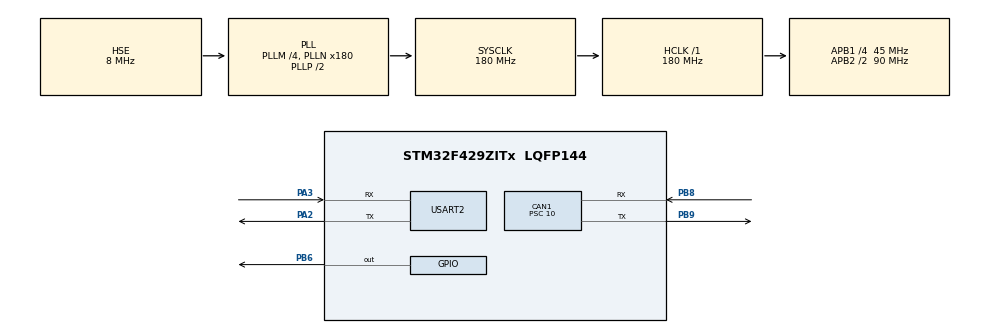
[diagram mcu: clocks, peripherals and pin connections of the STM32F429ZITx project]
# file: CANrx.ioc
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CAN1.BS1=CAN_BS1_15TQ
CAN1.BS2=CAN_BS2_2TQ
CAN1.CalculateBaudRate=250000
CAN1.CalculateTimeBit=4000
CAN1.CalculateTimeQuantum=222.22222222222223
CAN1.Prescaler=10
Mcu.Family=STM32F4
Mcu.Name=STM32F429ZITx
Mcu.Package=LQFP144
NVIC.CAN1_RX0_IRQn=true\:0\:0\:false\:false\:true\:true\:true\:true
NVIC.PriorityGroup=NVIC_PRIORITYGROUP_4
PA2.Mode=Asynchronous
PA2.Signal=USART2_TX
PA3.Mode=Asynchronous
PA3.Signal=USART2_RX
PB6.Signal=GPIO_Output
PB8.Mode=CAN_Activate
PB8.Signal=CAN1_RX
PB9.Mode=CAN_Activate
PB9.Signal=CAN1_TX
PH0/OSC_IN.Mode=HSE-External-Oscillator
PH0/OSC_IN.Signal=RCC_OSC_IN
PH1/OSC_OUT.Mode=HSE-External-Oscillator
PH1/OSC_OUT.Signal=RCC_OSC_OUT
ProjectManager.HeapSize=0x200
ProjectManager.StackSize=0x400
ProjectManager.TargetToolchain=STM32CubeIDE
RCC.48MHZClocksFreq_Value=120000000
RCC.AHBFreq_Value=180000000
RCC.APB1CLKDivider=RCC_HCLK_DIV4
RCC.APB1Freq_Value=45000000
RCC.APB1TimFreq_Value=90000000
RCC.APB2CLKDivider=RCC_HCLK_DIV2
RCC.APB2Freq_Value=90000000
RCC.APB2TimFreq_Value=180000000
RCC.CortexFreq_Value=180000000
RCC.HCLKFreq_Value=180000000
RCC.HSE_VALUE=8000000
RCC.HSI_VALUE=16000000
RCC.LSE_VALUE=32768
RCC.PLLM=4
RCC.PLLN=180
RCC.PLLQ=3
RCC.PLLSAIN=50
RCC.PLLSourceVirtual=RCC_PLLSOURCE_HSE
RCC.SYSCLKFreq_VALUE=180000000
RCC.SYSCLKSource=RCC_SYSCLKSOURCE_PLLCLK
RCC.VCOOutputFreq_Value=360000000
USART2.VirtualMode=VM_ASYNC
board=STM32F429I-DISC1

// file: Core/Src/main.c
/* USER CODE BEGIN Header */
/**
  ******************************************************************************
  * @file           : main.c
  * @brief          : Main program body
  ******************************************************************************
  * @attention
  *
  * Copyright (c) 2023 STMicroelectronics.
  * All rights reserved.
  *
  * This software is licensed under terms that can be found in the LICENSE file
  * in the root directory of this software component.
  * If no LICENSE file comes with this software, it is provided AS-IS.
  *
  ******************************************************************************
  */
/* USER CODE END Header */
#include "main.h"

/* USER CODE BEGIN Includes */
#include "stdio.h"
#include "string.h"

/* USER CODE END Includes */

CAN_HandleTypeDef hcan1;

UART_HandleTypeDef huart2;

/* USER CODE BEGIN PV */
CAN_RxHeaderTypeDef RxHeader;
CAN_FilterTypeDef fcan1;
char str[32];
volatile uint8_t RxData[4];
volatile float RX_msg= 0;
int size_len;
volatile uint8_t count=0;
/* USER CODE END PV */

void SystemClock_Config(void);
static void MX_GPIO_Init(void);
static void MX_CAN1_Init(void);
static void MX_USART2_UART_Init(void);
/* USER CODE BEGIN PFP */
void HAL_CAN_RxFifo0MsgPendingCallback(CAN_HandleTypeDef *hcan)
{
	HAL_CAN_GetRxMessage(&hcan1, CAN_RX_FIFO0, &RxHeader, RxData);
	memcpy(&RX_msg, RxData, 4);
	count++;
}
/* USER CODE END PFP */

int main(void)
{

  /* MCU Configuration--------------------------------------------------------*/

  /* Reset of all peripherals, Initializes the Flash interface and the Systick. */
  HAL_Init();

  /* Configure the system clock */
  SystemClock_Config();

  /* Initialize all configured peripherals */
  MX_GPIO_Init();
  MX_CAN1_Init();
  MX_USART2_UART_Init();
  /* USER CODE BEGIN 2 */
  fcan1.FilterBank=0;
  fcan1.FilterActivation=CAN_FILTER_ENABLE;
  fcan1.FilterFIFOAssignment=CAN_FILTER_FIFO0;
  fcan1.SlaveStartFilterBank=0;

  HAL_CAN_ConfigFilter(&hcan1, &fcan1);
  HAL_CAN_ActivateNotification(&hcan1, CAN_IT_RX_FIFO0_MSG_PENDING);
  HAL_CAN_Start(&hcan1);

  /* USER CODE END 2 */

  /* Infinite loop */
  /* USER CODE BEGIN WHILE */
  while (1)
  {
	  size_len = sprintf(str, "State of Charge : %f\n", RX_msg);
	  HAL_UART_Transmit(&huart2, (uint8_t *)str, size_len, HAL_MAX_DELAY);
	  HAL_Delay(100);
    /* USER CODE END WHILE */

  }
}

void SystemClock_Config(void)
{
  RCC_OscInitTypeDef RCC_OscInitStruct = {0};
  RCC_ClkInitTypeDef RCC_ClkInitStruct = {0};

  /** Configure the main internal regulator output voltage
  */
  __HAL_RCC_PWR_CLK_ENABLE();
  __HAL_PWR_VOLTAGESCALING_CONFIG(PWR_REGULATOR_VOLTAGE_SCALE1);

  /** Initializes the RCC Oscillators according to the specified parameters
  * in the RCC_OscInitTypeDef structure.
  */
  RCC_OscInitStruct.OscillatorType = RCC_OSCILLATORTYPE_HSE;
  RCC_OscInitStruct.HSEState = RCC_HSE_ON;
  RCC_OscInitStruct.PLL.PLLState = RCC_PLL_ON;
  RCC_OscInitStruct.PLL.PLLSource = RCC_PLLSOURCE_HSE;
  RCC_OscInitStruct.PLL.PLLM = 4;
  RCC_OscInitStruct.PLL.PLLN = 180;
  RCC_OscInitStruct.PLL.PLLP = RCC_PLLP_DIV2;
  RCC_OscInitStruct.PLL.PLLQ = 3;
  if (HAL_RCC_OscConfig(&RCC_OscInitStruct) != HAL_OK)
  {
    Error_Handler();
  }

  /** Activate the Over-Drive mode
  */
  if (HAL_PWREx_EnableOverDrive() != HAL_OK)
  {
    Error_Handler();
  }

  /** Initializes the CPU, AHB and APB buses clocks
  */
  RCC_ClkInitStruct.ClockType = RCC_CLOCKTYPE_HCLK|RCC_CLOCKTYPE_SYSCLK
                              |RCC_CLOCKTYPE_PCLK1|RCC_CLOCKTYPE_PCLK2;
  RCC_ClkInitStruct.SYSCLKSource = RCC_SYSCLKSOURCE_PLLCLK;
  RCC_ClkInitStruct.AHBCLKDivider = RCC_SYSCLK_DIV1;
  RCC_ClkInitStruct.APB1CLKDivider = RCC_HCLK_DIV4;
  RCC_ClkInitStruct.APB2CLKDivider = RCC_HCLK_DIV2;

  if (HAL_RCC_ClockConfig(&RCC_ClkInitStruct, FLASH_LATENCY_5) != HAL_OK)
  {
    Error_Handler();
  }
}

static void MX_CAN1_Init(void)
{

  hcan1.Instance = CAN1;
  hcan1.Init.Prescaler = 10;
  hcan1.Init.Mode = CAN_MODE_NORMAL;
  hcan1.Init.SyncJumpWidth = CAN_SJW_1TQ;
  hcan1.Init.TimeSeg1 = CAN_BS1_15TQ;
  hcan1.Init.TimeSeg2 = CAN_BS2_2TQ;
  hcan1.Init.TimeTriggeredMode = DISABLE;
  hcan1.Init.AutoBusOff = DISABLE;
  hcan1.Init.AutoWakeUp = DISABLE;
  hcan1.Init.AutoRetransmission = DISABLE;
  hcan1.Init.ReceiveFifoLocked = DISABLE;
  hcan1.Init.TransmitFifoPriority = DISABLE;
  if (HAL_CAN_Init(&hcan1) != HAL_OK)
  {
    Error_Handler();
  }

}

static void MX_USART2_UART_Init(void)
{

  huart2.Instance = USART2;
  huart2.Init.BaudRate = 115200;
  huart2.Init.WordLength = UART_WORDLENGTH_8B;
  huart2.Init.StopBits = UART_STOPBITS_1;
  huart2.Init.Parity = UART_PARITY_NONE;
  huart2.Init.Mode = UART_MODE_TX_RX;
  huart2.Init.HwFlowCtl = UART_HWCONTROL_NONE;
  huart2.Init.OverSampling = UART_OVERSAMPLING_16;
  if (HAL_UART_Init(&huart2) != HAL_OK)
  {
    Error_Handler();
  }

}

static void MX_GPIO_Init(void)
{
  GPIO_InitTypeDef GPIO_InitStruct = {0};

  /* GPIO Ports Clock Enable */
  __HAL_RCC_GPIOH_CLK_ENABLE();
  __HAL_RCC_GPIOA_CLK_ENABLE();
  __HAL_RCC_GPIOB_CLK_ENABLE();

  /*Configure GPIO pin Output Level */
  HAL_GPIO_WritePin(GPIOB, GPIO_PIN_6, GPIO_PIN_RESET);

  /*Configure GPIO pin : PB6 */
  GPIO_InitStruct.Pin = GPIO_PIN_6;
  GPIO_InitStruct.Mode = GPIO_MODE_OUTPUT_PP;
  GPIO_InitStruct.Pull = GPIO_NOPULL;
  GPIO_InitStruct.Speed = GPIO_SPEED_FREQ_LOW;
  HAL_GPIO_Init(GPIOB, &GPIO_InitStruct);

}

void Error_Handler(void)
{
  __disable_irq();
  while (1)
  {
  }
}
